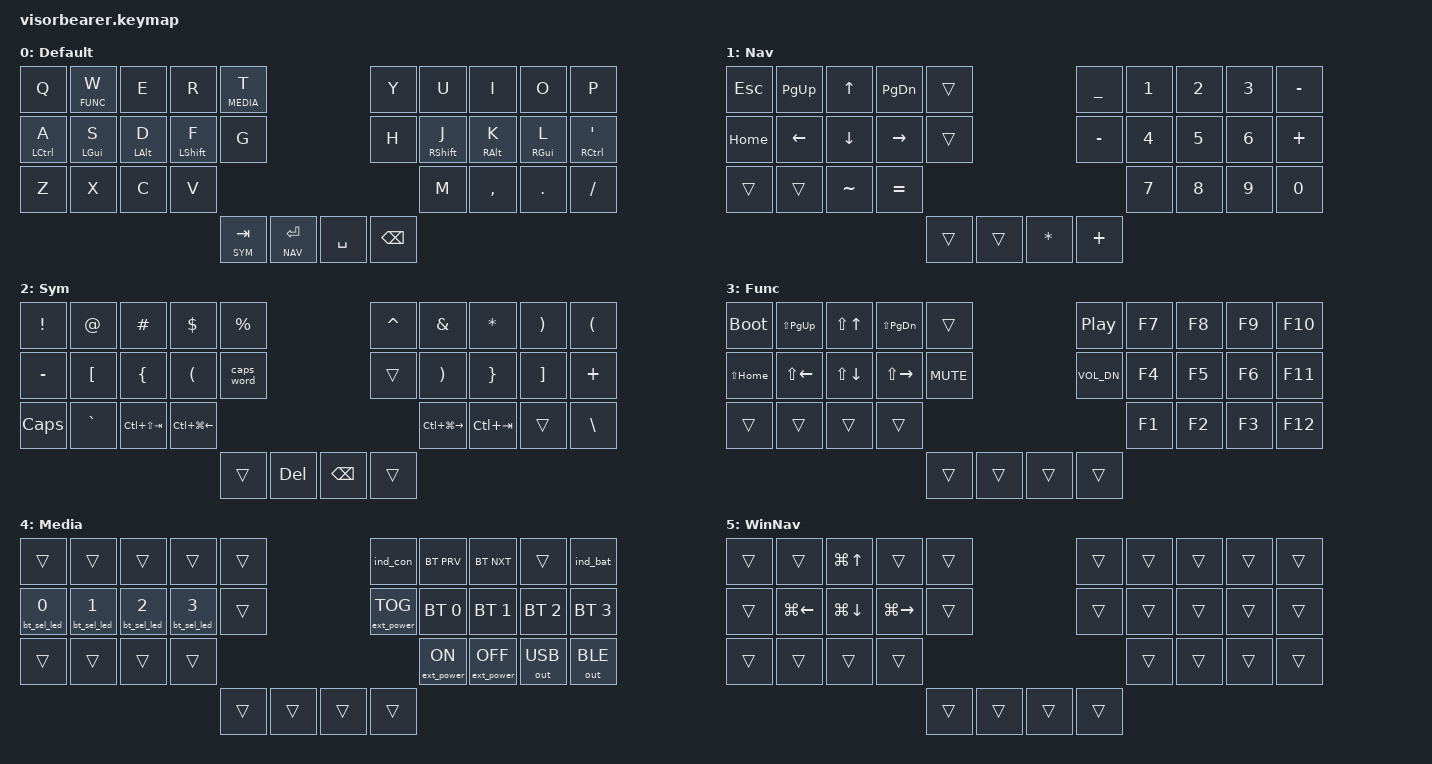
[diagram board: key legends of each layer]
#include <behaviors.dtsi>
#include <dt-bindings/zmk/keys.h>
#include <dt-bindings/zmk/bt.h>
#include <dt-bindings/zmk/outputs.h>
#include <dt-bindings/zmk/ext_power.h>
#include <behaviors/led_bars.dtsi>

#define DEFAULT 0
#define NAV     1
#define SYM     2
#define FUNC    3
#define MEDIA   4
#define WINNAV  5

&caps_word {
    continue-list = <UNDERSCORE MINUS>;
};

/ {
    behaviors {
        hm: homerow_mods {
            compatible = "zmk,behavior-hold-tap";
            #binding-cells = <2>;
            tapping-term-ms = <200>;
            flavor = "tap-preferred";
            bindings = <&kp>, <&kp>;
        };
        hs: homerow_shift {
            compatible = "zmk,behavior-hold-tap";
            #binding-cells = <2>;
            tapping-term-ms = <175>;
            flavor = "balanced";
            bindings = <&kp>, <&kp>;
        };
    };

    combos {
        compatible = "zmk,combos";
        
        // Missing inner column keys - left side (ffkb middle position 14: G)
        combo_left_inner_col {
            timeout-ms = <50>;
            key-positions = <4 14>;
            bindings = <&kp N>;
            layers = <DEFAULT>;
        };
        combo_left_inner_col_nav {
            timeout-ms = <50>;
            key-positions = <4 14>;
            bindings = <&kp END>;
            layers = <NAV>;
        };
        combo_left_inner_col_sym {
            timeout-ms = <50>;
            key-positions = <4 14>;
            bindings = <&kp LT>;
            layers = <SYM>;
        };
        combo_left_inner_col_func {
            timeout-ms = <50>;
            key-positions = <4 14>;
            bindings = <&kp LS(END)>;
            layers = <FUNC>;
        };
        combo_left_inner_col_media {
            timeout-ms = <50>;
            key-positions = <4 14>;
            bindings = <&bt_clr_led>;
            layers = <MEDIA>;
        };
        combo_left_inner_col_winnav {
            timeout-ms = <50>;
            key-positions = <4 14>;
            bindings = <&trans>;
            layers = <WINNAV>;
        };

        // Missing inner column keys - right side (ffkb middle position 15: M)
        combo_right_inner_col {
            timeout-ms = <50>;
            key-positions = <5 15>;
            bindings = <&kp B>;
            layers = <DEFAULT>;
        };
        combo_right_inner_col_nav {
            timeout-ms = <50>;
            key-positions = <5 15>;
            bindings = <&kp FSLH>;
            layers = <NAV>;
        };
        combo_right_inner_col_sym {
            timeout-ms = <50>;
            key-positions = <5 15>;
            bindings = <&kp GT>;
            layers = <SYM>;
        };
        combo_right_inner_col_func {
            timeout-ms = <50>;
            key-positions = <5 15>;
            bindings = <&kp K_VOL_UP>;
            layers = <FUNC>;
        };
        combo_right_inner_col_media {
            timeout-ms = <50>;
            key-positions = <5 15>;
            bindings = <&bt BT_CLR>;
            layers = <MEDIA>;
        };
        combo_right_inner_col_winnav {
            timeout-ms = <50>;
            key-positions = <5 15>;
            bindings = <&trans>;
            layers = <WINNAV>;
        };

        // Missing left thumb middle key (ffkb position 31: RET)
        combo_left_thumb {
            timeout-ms = <50>;
            key-positions = <28 29>;
            bindings = <&lt NAV RET>;
            layers = <DEFAULT>;
        };
        combo_left_thumb_nav {
            timeout-ms = <50>;
            key-positions = <28 29>;
            bindings = <&trans>;
            layers = <NAV>;
        };
        combo_left_thumb_sym {
            timeout-ms = <50>;
            key-positions = <28 29>;
            bindings = <&kp RET>;
            layers = <SYM>;
        };
        combo_left_thumb_func {
            timeout-ms = <50>;
            key-positions = <28 29>;
            bindings = <&trans>;
            layers = <FUNC>;
        };
        combo_left_thumb_media {
            timeout-ms = <50>;
            key-positions = <28 29>;
            bindings = <&trans>;
            layers = <MEDIA>;
        };
        combo_left_thumb_winnav {
            timeout-ms = <50>;
            key-positions = <28 29>;
            bindings = <&trans>;
            layers = <WINNAV>;
        };

        // Missing right thumb middle key (ffkb position 34: SPACE)
        combo_right_thumb {
            timeout-ms = <50>;
            key-positions = <30 31>;
            bindings = <&lt SYM SPACE>;
            layers = <DEFAULT>;
        };
        combo_right_thumb_nav {
            timeout-ms = <50>;
            key-positions = <30 31>;
            bindings = <&kp SPACE>;
            layers = <NAV>;
        };
        combo_right_thumb_sym {
            timeout-ms = <50>;
            key-positions = <30 31>;
            bindings = <&trans>;
            layers = <SYM>;
        };
        combo_right_thumb_func {
            timeout-ms = <50>;
            key-positions = <30 31>;
            bindings = <&kp SPACE>;
            layers = <FUNC>;
        };
        combo_right_thumb_media {
            timeout-ms = <50>;
            key-positions = <30 31>;
            bindings = <&trans>;
            layers = <MEDIA>;
        };
        combo_right_thumb_winnav {
            timeout-ms = <50>;
            key-positions = <30 31>;
            bindings = <&trans>;
            layers = <WINNAV>;
        };

        // Additional combo from original ffkb
        combo_undo {
            timeout-ms = <50>;
            key-positions = <20 21>;
            bindings = <&kp LC(Z)>;
        };
    };

    conditional_layers {
        compatible = "zmk,conditional-layers";
    };

    keymap {
        compatible = "zmk,keymap";

        default_layer {
            display-name = "Default";
            bindings = <
            &kp Q           &lt FUNC W           &kp E           &kp R           &lt MEDIA T                                           &kp Y           &kp U           &kp I    &kp O           &kp P
            &hm LCTL A      &hm LGUI S      &hm LALT D      &hs LSHIFT F    &kp G                                           &kp H           &hs RSHIFT J    &hm RALT K      &hm RGUI L      &hm RCTL APOS
            &kp Z           &kp X           &kp C           &kp V                                                                           &kp M           &kp COMMA       &kp DOT         &kp FSLH
                                                            &lt SYM TAB         &lt NAV RETURN                   &kp SPACE  &kp BSPC
            >;
        };

        nav_layer {
            display-name = "Nav";
            bindings = <
            &kp ESC         &kp PG_UP       &kp UP          &kp PG_DN       &trans                                          &kp UNDERSCORE       &kp N1          &kp N2          &kp N3          &kp MINUS
            &kp HOME        &kp LEFT        &kp DOWN        &kp RIGHT       &trans                                          &kp MINUS       &kp N4          &kp N5          &kp N6          &kp PLUS
            &trans          &trans          &kp TILDE          &kp EQUAL                                                                          &kp N7          &kp N8          &kp N9          &kp N0
                                                                            &trans          &trans         &kp ASTRK        &kp PLUS
            >;
        };

        sym_layer {
            display-name = "Sym";
            bindings = <
            &kp EXCL        &kp AT          &kp HASH        &kp DLLR        &kp PRCNT                                       &kp CARET       &kp AMPS        &kp ASTRK       &kp RPAR       &kp LPAR
            &kp MINUS       &kp LBKT        &kp LBRC        &kp LPAR        &caps_word                                      &trans          &kp RPAR        &kp RBRC        &kp RBKT        &kp PLUS
            &kp CAPS        &kp GRAVE       &kp LC(LS(TAB)) &kp LC(LG(LEFT))                                                                &kp LC(LG(RIGHT)) &kp LC(TAB)   &trans          &kp BSLH
                                                                            &trans          &kp DEL         &kp BSPC        &trans
            >;
        };

        func_layer {
            display-name = "Func";
            bindings = <
            &bootloader     &kp LS(PG_UP)   &kp LS(UP)      &kp LS(PG_DN)   &trans                                          &kp C_PLAY_PAUSE &kp F7         &kp F8          &kp F9          &kp F10
            &kp LS(HOME)    &kp LS(LEFT)    &kp LS(DOWN)    &kp LS(RIGHT)   &kp C_MUTE                                      &kp K_VOL_DN    &kp F4          &kp F5          &kp F6          &kp F11
            &trans          &trans          &trans          &trans                                                                          &kp F1          &kp F2          &kp F3          &kp F12
                                                                            &trans          &trans          &trans          &trans
            >;
        };

        media_layer {
            display-name = "Media";
            bindings = <
            &trans          &trans          &trans          &trans          &trans                                          &ind_con        &bt BT_PRV      &bt BT_NXT         &trans        &ind_bat
            &bt_sel_led 0   &bt_sel_led 1   &bt_sel_led 2   &bt_sel_led 3   &trans                                          &ext_power EP_TOG &bt BT_SEL 0  &bt BT_SEL 1       &bt BT_SEL 2  &bt BT_SEL 3
            &trans          &trans          &trans          &trans                                                                          &ext_power EP_ON &ext_power EP_OFF &out OUT_USB  &out OUT_BLE
                                                                            &trans          &trans          &trans          &trans
            >;
        };

        winnav_layer {
            display-name = "WinNav";
            bindings = <
            &trans          &trans          &kp LG(UP)      &trans          &trans                                          &trans          &trans          &trans          &trans          &trans
            &trans          &kp LG(LEFT)    &kp LG(DOWN)    &kp LG(RIGHT)   &trans                                          &trans          &trans          &trans          &trans          &trans
            &trans          &trans          &trans          &trans                                                                          &trans          &trans          &trans          &trans
                                                                            &trans          &trans          &trans          &trans
            >;
        };
    };
};
